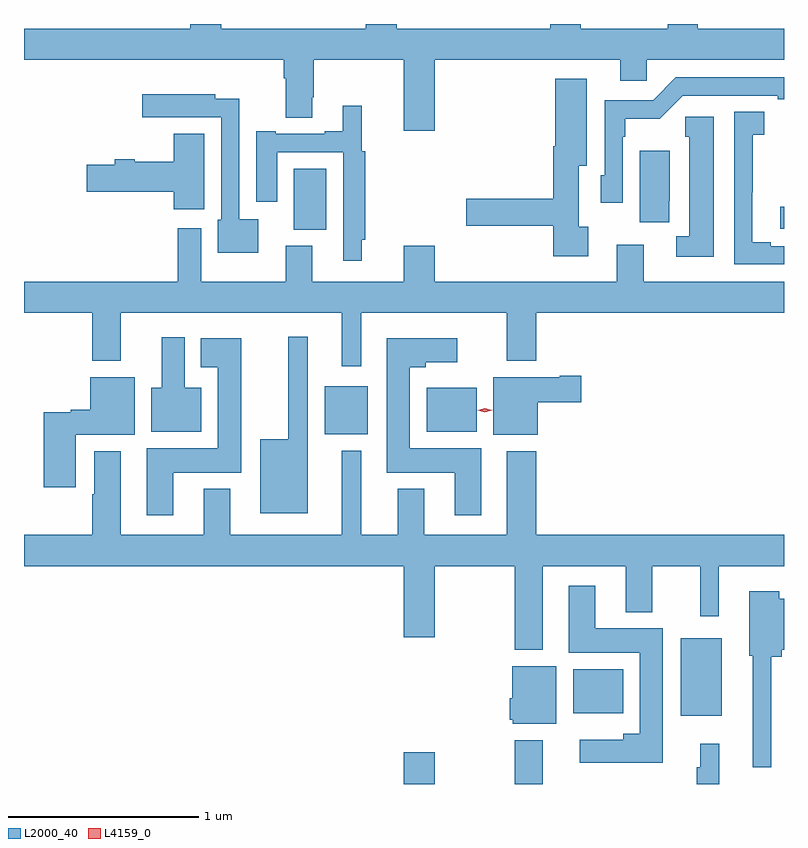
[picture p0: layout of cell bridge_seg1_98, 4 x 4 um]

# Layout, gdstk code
import gdstk
lib = gdstk.Library(unit=1e-6, precision=1e-09)
def R(c, l, rs):  # rectangles x0, y0, x1, y1
    for r in rs: c.add(gdstk.rectangle(r[:2], r[2:], *l))
def P(c, l, *ps):  # polygons
    for p in ps: c.add(gdstk.Polygon(p, *l))
L2000_40 = (2000, 40)
L4159_0 = (4159, 0)

bridge_seg1_98 = lib.new_cell('bridge_seg1_98')
R(bridge_seg1_98, L2000_40, [(248.924,534.601,249.088,534.769), (249.508,534.601,249.655,534.832), (250.382,534.959,250.597,535.369), (249.815,534.974,250.078,535.204), (248.507,536.441,248.734,536.695), (249.044,536.456,249.307,536.686), (248.345,537.518,248.515,537.838), (250.905,537.523,250.925,537.638)])
P(bridge_seg1_98, L2000_40, [(249.088,538.412),(250.064,538.412),(250.064,538.302),(250.203,538.302),(250.203,538.412),(250.925,538.412),(250.925,538.576),(250.472,538.576),(250.472,538.601),(250.312,538.601),(250.312,538.576),(249.855,538.576),(249.855,538.601),(249.695,538.601),(249.695,538.576),(248.888,538.576),(248.888,538.601),(248.723,538.601),(248.723,538.576),(247.964,538.576),(247.964,538.601),(247.799,538.601),(247.799,538.576),(246.925,538.576),(246.925,538.412),(248.291,538.412),(248.291,538.316),(248.303,538.316),(248.303,538.108),(248.443,538.108),(248.443,538.216),(248.451,538.216),(248.451,538.412),(248.924,538.412),(248.924,538.038),(249.088,538.038)],
  [(250.077,538.007),(250.09,538.007),(250.09,538.103),(250.271,538.103),(250.392,538.224),(250.892,538.224),(250.892,538.204),(250.925,538.204),(250.925,538.32),(250.356,538.32),(250.236,538.2),(249.981,538.2),(249.981,537.804),(249.96,537.804),(249.96,537.66),(250.077,537.66)],
  [(249.895,537.534),(249.844,537.534),(249.844,537.854),(249.886,537.854),(249.886,538.312),(249.722,538.312),(249.722,537.958),(249.71,537.958),(249.71,537.68),(249.252,537.68),(249.252,537.538),(249.71,537.538),(249.71,537.378),(249.895,537.378)],
  [(248.158,537.574),(248.058,537.574),(248.058,538.208),(247.932,538.208),(247.932,538.231),(247.548,538.231),(247.548,538.109),(247.865,538.109),(247.865,538.11),(247.962,538.11),(247.962,537.57),(247.946,537.57),(247.946,537.398),(248.158,537.398)],
  [(248.703,537.466),(248.72,537.466),(248.72,537.93),(248.703,537.93),(248.703,538.171),(248.603,538.171),(248.603,538.036),(248.507,538.036),(248.507,538.023),(248.251,538.023),(248.251,538.036),(248.147,538.036),(248.147,537.666),(248.257,537.666),(248.257,537.927),(248.604,537.927),(248.604,537.354),(248.703,537.354)],
  [(250.925,537.432),(250.855,537.432),(250.855,537.452),(250.759,537.452),(250.759,537.715),(250.761,537.715),(250.761,538.019),(250.822,538.019),(250.822,538.139),(250.662,538.139),(250.662,537.336),(250.925,537.336)],
  [(250.555,538.114),(250.405,538.114),(250.405,538.008),(250.427,538.008),(250.427,537.485),(250.359,537.485),(250.359,537.377),(250.555,537.377)],
  [(247.873,538.024),(247.712,538.024),(247.712,537.877),(247.507,537.877),(247.507,537.89),(247.403,537.89),(247.403,537.86),(247.254,537.86),(247.254,537.718),(247.712,537.718),(247.712,537.627),(247.873,537.627)],
  [(250.322,537.67),(250.324,537.67),(250.324,537.934),(250.166,537.934),(250.166,537.558),(250.322,537.558)],
  [(248.701,537.08),(249.467,537.08),(249.467,536.828),(249.62,536.828),(249.62,537.08),(250.925,537.08),(250.925,537.244),(250.186,537.244),(250.186,537.439),(250.046,537.439),(250.046,537.244),(249.088,537.244),(249.088,537.433),(248.924,537.433),(248.924,537.244),(248.443,537.244),(248.443,537.433),(248.303,537.433),(248.303,537.244),(247.858,537.244),(247.858,537.526),(247.733,537.526),(247.733,537.244),(246.925,537.244),(246.925,537.08),(247.283,537.08),(247.283,536.828),(247.435,536.828),(247.435,537.08),(248.597,537.08),(248.597,536.799),(248.701,536.799)],
  [(248.419,536.956),(248.315,536.956),(248.315,536.416),(248.168,536.416),(248.168,536.027),(248.419,536.027)],
  [(247.858,536.686),(247.771,536.686),(247.771,536.953),(247.649,536.953),(247.649,536.686),(247.595,536.686),(247.595,536.456),(247.858,536.456)],
  [(247.711,536.24),(248.068,536.24),(248.068,536.947),(247.856,536.947),(247.856,536.795),(247.946,536.795),(247.946,536.368),(247.571,536.368),(247.571,536.016),(247.711,536.016)],
  [(249.331,536.368),(248.956,536.368),(248.956,536.795),(249.039,536.795),(249.039,536.822),(249.205,536.822),(249.205,536.947),(248.834,536.947),(248.834,536.24),(249.191,536.24),(249.191,536.016),(249.331,536.016)],
  [(249.628,536.609),(249.859,536.609),(249.859,536.751),(249.746,536.751),(249.746,536.743),(249.395,536.743),(249.395,536.438),(249.628,536.438)],
  [(247.198,536.438),(247.507,536.438),(247.507,536.743),(247.274,536.743),(247.274,536.57),(247.172,536.57),(247.172,536.557),(247.028,536.557),(247.028,536.163),(247.198,536.163)],
  [(249.508,535.307),(249.655,535.307),(249.655,535.748),(250.091,535.748),(250.091,535.505),(250.231,535.505),(250.231,535.748),(250.483,535.748),(250.483,535.485),(250.582,535.485),(250.582,535.748),(250.925,535.748),(250.925,535.912),(249.62,535.912),(249.62,536.353),(249.467,536.353),(249.467,535.912),(249.031,535.912),(249.031,536.155),(248.891,536.155),(248.891,535.912),(248.701,535.912),(248.701,536.356),(248.597,536.356),(248.597,535.912),(248.011,535.912),(248.011,536.155),(247.871,536.155),(247.871,535.912),(247.435,535.912),(247.435,536.353),(247.295,536.353),(247.295,536.127),(247.283,536.127),(247.283,535.912),(246.925,535.912),(246.925,535.748),(248.924,535.748),(248.924,535.374),(249.088,535.374),(249.088,535.748),(249.508,535.748)],
  [(250.288,535.42),(249.931,535.42),(249.931,535.645),(249.791,535.645),(249.791,535.292),(250.166,535.292),(250.166,534.865),(250.079,534.865),(250.079,534.835),(249.849,534.835),(249.849,534.713),(250.288,534.713)],
  [(250.857,535.271),(250.913,535.271),(250.913,535.307),(250.925,535.307),(250.925,535.576),(250.9,535.576),(250.9,535.615),(250.742,535.615),(250.742,535.275),(250.76,535.275),(250.76,534.69),(250.857,534.69)],
  [(249.727,535.222),(249.494,535.222),(249.494,535.053),(249.482,535.053),(249.482,534.939),(249.498,534.939),(249.498,534.917),(249.727,534.917)],
  [(250.583,534.814),(250.484,534.814),(250.484,534.689),(250.465,534.689),(250.465,534.601),(250.583,534.601)])
P(bridge_seg1_98, L4159_0, [(249.35,536.558),(249.312,536.568),(249.312,536.568),(249.312,536.568),(249.35,536.578),(249.389,536.568),(249.389,536.568),(249.389,536.568)])

lib.write_gds('bridge_seg1_98.gds')
